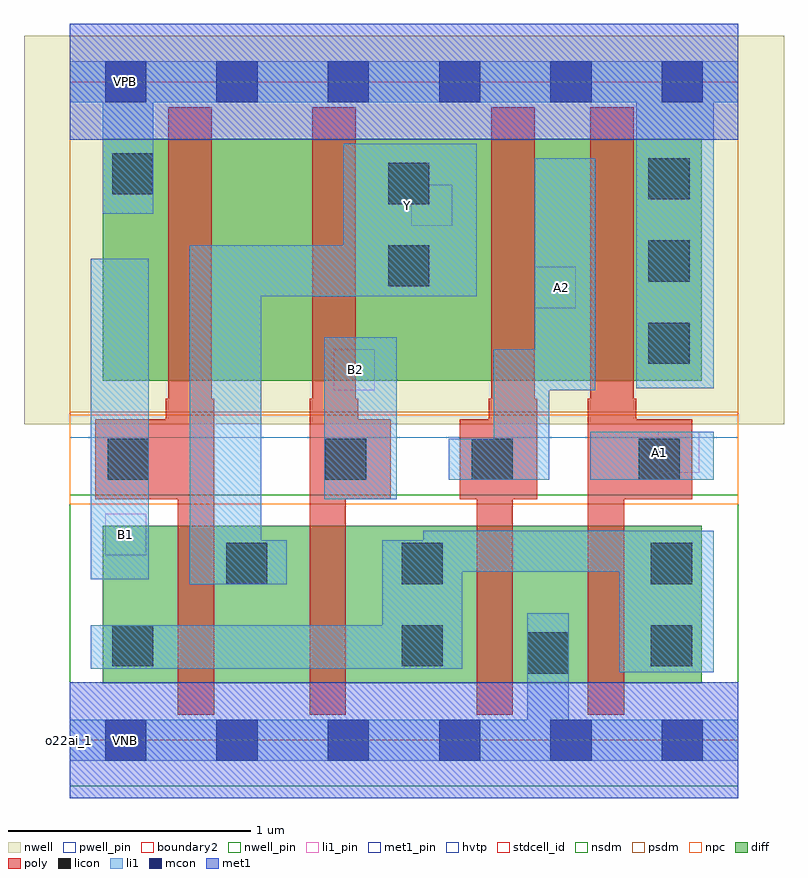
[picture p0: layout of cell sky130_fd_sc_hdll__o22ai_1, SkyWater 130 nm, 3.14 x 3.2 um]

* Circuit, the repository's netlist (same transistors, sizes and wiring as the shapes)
* Copyright 2020 The SkyWater PDK Authors
*
* Licensed under the Apache License, Version 2.0 (the "License");
* you may not use this file except in compliance with the License.
* You may obtain a copy of the License at
*
*     https://www.apache.org/licenses/LICENSE-2.0
*
* Unless required by applicable law or agreed to in writing, software
* distributed under the License is distributed on an "AS IS" BASIS,
* WITHOUT WARRANTIES OR CONDITIONS OF ANY KIND, either express or implied.
* See the License for the specific language governing permissions and
* limitations under the License.
*
* SPDX-License-Identifier: Apache-2.0

.SUBCKT sky130_fd_sc_hdll__o22ai_1 A1 A2 B1 B2 VGND VNB VPB VPWR Y
*.PININFO A1:I A2:I B1:I B2:I VGND:I VNB:I VPB:I VPWR:I Y:O
MMPA0 VPWR A1 sndA1 VPB sky130_fd_pr__pfet_01v8_hvt m=1 w=1.0U l=0.18U mult=1 sa=0.265
+ sb=0.265 sd=0.28 area=0.063 perim=1.14
MMPA1 sndA1 A2 Y VPB sky130_fd_pr__pfet_01v8_hvt m=1 w=1.0U l=0.18U mult=1 sa=0.265
+ sb=0.265 sd=0.28 area=0.063 perim=1.14
MMPB0 VPWR B1 sndB1 VPB sky130_fd_pr__pfet_01v8_hvt m=1 w=1.0U l=0.18U mult=1 sa=0.265
+ sb=0.265 sd=0.28 area=0.063 perim=1.14
MMPB1 sndB1 B2 Y VPB sky130_fd_pr__pfet_01v8_hvt m=1 w=1.0U l=0.18U mult=1 sa=0.265
+ sb=0.265 sd=0.28 area=0.063 perim=1.14
MMNA0 pndA A1 VGND VNB sky130_fd_pr__nfet_01v8 m=1 w=0.65U l=0.15U mult=1 sa=0.265
+ sb=0.265 sd=0.28 area=0.063 perim=1.14
MMNA1 pndA A2 VGND VNB sky130_fd_pr__nfet_01v8 m=1 w=0.65U l=0.15U mult=1 sa=0.265
+ sb=0.265 sd=0.28 area=0.063 perim=1.14
MMNB0 Y B1 pndA VNB sky130_fd_pr__nfet_01v8 m=1 w=0.65U l=0.15U mult=1 sa=0.265
+ sb=0.265 sd=0.28 area=0.063 perim=1.14
MMNB1 Y B2 pndA VNB sky130_fd_pr__nfet_01v8 m=1 w=0.65U l=0.15U mult=1 sa=0.265
+ sb=0.265 sd=0.28 area=0.063 perim=1.14
.ENDS sky130_fd_sc_hdll__o22ai_1

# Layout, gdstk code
import gdstk
lib = gdstk.Library(unit=1e-6, precision=1e-09)
def R(c, l, rs):  # rectangles x0, y0, x1, y1
    for r in rs: c.add(gdstk.rectangle(r[:2], r[2:], *l))
def A(c, l, x, y, w, h, nx, ny, dx, dy):  # array of equal rectangles
    R(c, l, [(x+i*dx, y+j*dy, x+i*dx+w, y+j*dy+h) for i in range(nx) for j in range(ny)])
def P(c, l, *ps):  # polygons
    for p in ps: c.add(gdstk.Polygon(p, *l))
nwell_pin = (64, 16)
nwell = (64, 20)
diff = (65, 20)
poly = (66, 20)
licon = (66, 44)
li1_pin = (67, 16)
li1 = (67, 20)
mcon = (67, 44)
met1_pin = (68, 16)
met1 = (68, 20)
hvtp = (78, 44)
stdcell_id = (81, 4)
nsdm = (93, 44)
psdm = (94, 20)
npc = (95, 20)
pwell_pin = (122, 16)
boundary2 = (236, 0)

sky130_fd_sc_hdll__o22ai = lib.new_cell('sky130_fd_sc_hdll__o22ai_1')
R(sky130_fd_sc_hdll__o22ai, nwell_pin, [(0.145,2.635,0.315,2.805)])
R(sky130_fd_sc_hdll__o22ai, nwell, [(-0.19,1.305,2.95,2.91)])
R(sky130_fd_sc_hdll__o22ai, diff, [(0.135,0.235,2.61,0.885), (0.135,1.485,2.61,2.485)])
P(sky130_fd_sc_hdll__o22ai, poly, [(0.595,1.41),(0.585,1.41),(0.585,2.615),(0.405,2.615),(0.405,1.41),(0.395,1.41),(0.395,1.325),(0.105,1.325),(0.105,0.995),(0.445,0.995),(0.445,0.105),(0.595,0.105)],
  [(1.325,1.325),(1.19,1.325),(1.19,1.41),(1.18,1.41),(1.18,2.615),(1,2.615),(1,1.41),(0.99,1.41),(0.99,0.105),(1.14,0.105),(1.14,0.995),(1.325,0.995)],
  [(1.93,1.41),(1.92,1.41),(1.92,2.615),(1.74,2.615),(1.74,1.41),(1.73,1.41),(1.73,1.325),(1.61,1.325),(1.61,0.995),(1.68,0.995),(1.68,0.105),(1.83,0.105),(1.83,0.995),(1.93,0.995)],
  [(2.57,1.325),(2.34,1.325),(2.34,1.41),(2.33,1.41),(2.33,2.615),(2.15,2.615),(2.15,1.41),(2.14,1.41),(2.14,0.105),(2.29,0.105),(2.29,0.995),(2.57,0.995)])
A(sky130_fd_sc_hdll__o22ai, licon, 2.39, 1.555, 0.17, 0.17, 1, 3, 0, 0.34)
R(sky130_fd_sc_hdll__o22ai, licon, [(1.89,0.275,2.06,0.445), (0.175,0.305,0.345,0.475), (1.37,0.305,1.54,0.475), (2.4,0.305,2.57,0.475), (0.645,0.645,0.815,0.815), (1.37,0.645,1.54,0.815), (2.4,0.645,2.57,0.815), (0.155,1.075,0.325,1.245), (1.055,1.075,1.225,1.245), (1.66,1.075,1.83,1.245), (2.35,1.075,2.52,1.245), (1.315,1.875,1.485,2.045), (1.315,2.215,1.485,2.385), (0.175,2.255,0.345,2.425)])
R(sky130_fd_sc_hdll__o22ai, li1_pin, [(0.145,0.765,0.315,0.935), (2.43,1.105,2.6,1.275), (1.09,1.445,1.26,1.615), (1.92,1.785,2.09,1.955), (1.41,2.125,1.58,2.295)])
R(sky130_fd_sc_hdll__o22ai, li1, [(0.085,0.665,0.325,1.99), (1.05,0.995,1.35,1.665), (2.15,1.075,2.66,1.275)])
P(sky130_fd_sc_hdll__o22ai, li1, [(2.66,0.865),(1.46,0.865),(1.46,0.825),(1.29,0.825),(1.29,0.475),(0.085,0.475),(0.085,0.295),(1.62,0.295),(1.62,0.695),(2.27,0.695),(2.27,0.28),(2.66,0.28)],
  [(2.17,2.405),(1.92,2.405),(1.92,1.615),(1.75,1.615),(1.75,1.245),(1.565,1.245),(1.565,1.075),(1.98,1.075),(1.98,1.445),(2.17,1.445)],
  [(1.68,2.465),(1.13,2.465),(1.13,2.045),(0.495,2.045),(0.495,0.645),(0.895,0.645),(0.895,0.825),(0.79,0.825),(0.79,1.835),(1.68,1.835)],
  [(2.76,2.805),(0,2.805),(0,2.635),(0.135,2.635),(0.135,2.175),(0.345,2.175),(0.345,2.635),(2.34,2.635),(2.34,1.455),(2.66,1.455),(2.66,2.635),(2.76,2.635)],
  [(2.76,0.085),(2.06,0.085),(2.06,0.525),(1.89,0.525),(1.89,0.085),(0,0.085),(0,-0.085),(2.76,-0.085)])
A(sky130_fd_sc_hdll__o22ai, mcon, 0.145, -0.085, 0.17, 0.17, 6, 2, 0.46, 2.72)
R(sky130_fd_sc_hdll__o22ai, met1_pin, [(0.145,-0.085,0.315,0.085), (0.145,2.635,0.315,2.805)])
R(sky130_fd_sc_hdll__o22ai, met1, [(0,-0.24,2.76,0.24), (0,2.48,2.76,2.96)])
R(sky130_fd_sc_hdll__o22ai, hvtp, [(0,1.25,2.76,2.72)])
R(sky130_fd_sc_hdll__o22ai, stdcell_id, [(0,0,2.76,2.72)])
R(sky130_fd_sc_hdll__o22ai, nsdm, [(0,-0.19,2.76,1.015)])
R(sky130_fd_sc_hdll__o22ai, psdm, [(0,1.355,2.76,2.91)])
R(sky130_fd_sc_hdll__o22ai, npc, [(0,0.975,2.76,1.345)])
R(sky130_fd_sc_hdll__o22ai, pwell_pin, [(0.145,-0.085,0.315,0.085)])
R(sky130_fd_sc_hdll__o22ai, boundary2, [(0,0,2.76,2.72)])
sky130_fd_sc_hdll__o22ai.add(gdstk.Label('B2', (1.18,1.53), layer=67, texttype=5))
sky130_fd_sc_hdll__o22ai.add(gdstk.Label('A1', (2.435,1.19), layer=67, texttype=5))
sky130_fd_sc_hdll__o22ai.add(gdstk.Label('Y', (1.395,2.21), layer=67, texttype=5))
sky130_fd_sc_hdll__o22ai.add(gdstk.Label('B1', (0.23,0.85), layer=67, texttype=5))
sky130_fd_sc_hdll__o22ai.add(gdstk.Label('A2', (2.03,1.87), layer=67, texttype=5))
sky130_fd_sc_hdll__o22ai.add(gdstk.Label('VPB', (0.23,2.72), layer=64, texttype=5))
sky130_fd_sc_hdll__o22ai.add(gdstk.Label('VNB', (0.23,0), layer=64, texttype=59))
sky130_fd_sc_hdll__o22ai.add(gdstk.Label('VPWR', (0.23,2.72), layer=68, texttype=5))
sky130_fd_sc_hdll__o22ai.add(gdstk.Label('VGND', (0.23,0), layer=68, texttype=5))
sky130_fd_sc_hdll__o22ai.add(gdstk.Label('o22ai_1', (0,0), layer=83, texttype=44))

lib.write_gds('sky130_fd_sc_hdll__o22ai_1.gds')
